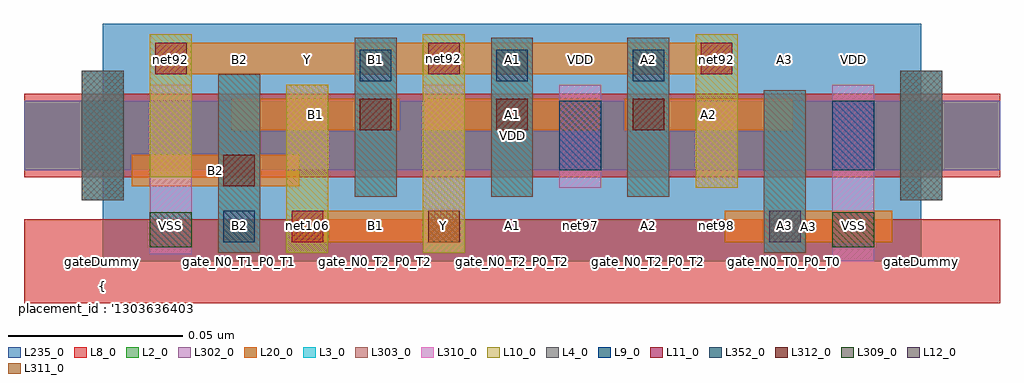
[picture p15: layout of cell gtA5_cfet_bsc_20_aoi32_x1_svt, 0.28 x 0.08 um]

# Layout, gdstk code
import gdstk
lib = gdstk.Library(unit=1e-6, precision=2.5e-10)
def R(c, l, rs):  # rectangles x0, y0, x1, y1
    for r in rs: c.add(gdstk.rectangle(r[:2], r[2:], *l))
def A(c, l, x, y, w, h, nx, ny, dx, dy):  # array of equal rectangles
    R(c, l, [(x+i*dx, y+j*dy, x+i*dx+w, y+j*dy+h) for i in range(nx) for j in range(ny)])
L2_0 = (2, 0)
L3_0 = (3, 0)
L4_0 = (4, 0)
L8_0 = (8, 0)
L9_0 = (9, 0)
L10_0 = (10, 0)
L11_0 = (11, 0)
L12_0 = (12, 0)
L20_0 = (20, 0)
L235_0 = (235, 0)
L302_0 = (302, 0)
L303_0 = (303, 0)
L309_0 = (309, 0)
L310_0 = (310, 0)
L311_0 = (311, 0)
L312_0 = (312, 0)
L352_0 = (352, 0)

gta5_cfet_bsc_20_aoi32_x = lib.new_cell('gtA5_cfet_bsc_20_aoi32_x1_svt')
R(gta5_cfet_bsc_20_aoi32_x, L2_0, [(-0.0225,0.026,0.2565,0.046)])
A(gta5_cfet_bsc_20_aoi32_x, L3_0, 0.072, 0.0185, 0.012, 0.0455, 3, 1, 0.039, 0)
R(gta5_cfet_bsc_20_aoi32_x, L3_0, [(0.033,0.0025,0.045,0.0535), (0.189,0.0025,0.201,0.049), (-0.006,0.0175,0.006,0.0545), (0.228,0.0175,0.24,0.0545)])
R(gta5_cfet_bsc_20_aoi32_x, L4_0, [(-0.006,0.0175,0.006,0.0545), (0.228,0.0175,0.24,0.0545)])
R(gta5_cfet_bsc_20_aoi32_x, L8_0, [(-0.0225,-0.012,0.2565,0.012), (-0.0225,0.024,0.2565,0.048)])
R(gta5_cfet_bsc_20_aoi32_x, L9_0, [(0.1305,0.026,0.1425,0.046), (0.2085,0.026,0.2205,0.046)])
R(gta5_cfet_bsc_20_aoi32_x, L10_0, [(0.0525,0.0025,0.0645,0.0505), (0.0915,0.0025,0.1035,0.065), (0.1695,0.021,0.1815,0.065), (0.0135,0.024,0.0255,0.065)])
A(gta5_cfet_bsc_20_aoi32_x, L11_0, 0.015, 0.0535, 0.009, 0.009, 3, 1, 0.078, 0)
R(gta5_cfet_bsc_20_aoi32_x, L11_0, [(0.054,0.0055,0.063,0.0145)])
R(gta5_cfet_bsc_20_aoi32_x, L12_0, [(0.1905,0.0055,0.1995,0.0145)])
R(gta5_cfet_bsc_20_aoi32_x, L20_0, [(0.054,0.0055,0.102,0.0145), (0.1777,0.0055,0.2258,0.0145), (0.0083,0.0215,0.0563,0.0305), (0.0367,0.0375,0.0848,0.0465), (0.092,0.0375,0.142,0.0465), (0.1492,0.0375,0.1973,0.0465), (0.015,0.0535,0.18,0.0625)])
R(gta5_cfet_bsc_20_aoi32_x, L235_0, [(0,0,0.234,0.068)])
R(gta5_cfet_bsc_20_aoi32_x, L302_0, [(-0.0225,0.026,0.2565,0.046)])
A(gta5_cfet_bsc_20_aoi32_x, L303_0, 0.072, 0.0185, 0.012, 0.0455, 3, 1, 0.039, 0)
R(gta5_cfet_bsc_20_aoi32_x, L303_0, [(0.033,0.0025,0.045,0.0535), (0.189,0.0025,0.201,0.049), (-0.006,0.0175,0.006,0.0545), (0.228,0.0175,0.24,0.0545)])
R(gta5_cfet_bsc_20_aoi32_x, L309_0, [(0.0135,0.004,0.0255,0.014), (0.2085,0.004,0.2205,0.014)])
R(gta5_cfet_bsc_20_aoi32_x, L310_0, [(0.2085,0,0.2205,0.0505), (0.0135,0.002,0.0255,0.0505), (0.0915,0.0025,0.1035,0.0505), (0.1305,0.021,0.1425,0.0505), (0.1695,0.021,0.1815,0.046), (0.0525,0.026,0.0645,0.0505)])
R(gta5_cfet_bsc_20_aoi32_x, L311_0, [(0.093,0.0055,0.102,0.0145)])
A(gta5_cfet_bsc_20_aoi32_x, L312_0, 0.0735, 0.0375, 0.009, 0.009, 3, 1, 0.039, 0)
R(gta5_cfet_bsc_20_aoi32_x, L312_0, [(0.0345,0.0215,0.0435,0.0305)])
A(gta5_cfet_bsc_20_aoi32_x, L352_0, 0.0735, 0.0515, 0.009, 0.009, 3, 1, 0.039, 0)
R(gta5_cfet_bsc_20_aoi32_x, L352_0, [(0.0345,0.0055,0.0435,0.0145)])
gta5_cfet_bsc_20_aoi32_x.add(gdstk.Label('net92', (0.0975,0.058), layer=100, texttype=100))
gta5_cfet_bsc_20_aoi32_x.add(gdstk.Label('gateDummy', (0,0), layer=103, texttype=103))
gta5_cfet_bsc_20_aoi32_x.add(gdstk.Label('sd_N0_VSS_P0_T3', (0.0195,0), layer=103, texttype=103))
gta5_cfet_bsc_20_aoi32_x.add(gdstk.Label('gate_N0_T1_P0_T1', (0.039,0), layer=103, texttype=103))
gta5_cfet_bsc_20_aoi32_x.add(gdstk.Label('sd_N0_abut_P0_T0', (0.0585,0), layer=103, texttype=103))
gta5_cfet_bsc_20_aoi32_x.add(gdstk.Label('gate_N0_T2_P0_T2', (0.078,0), layer=103, texttype=103))
gta5_cfet_bsc_20_aoi32_x.add(gdstk.Label('sd_N0_T0_P0_T3', (0.0975,0), layer=103, texttype=103))
gta5_cfet_bsc_20_aoi32_x.add(gdstk.Label('gate_N0_T2_P0_T2', (0.117,0), layer=103, texttype=103))
gta5_cfet_bsc_20_aoi32_x.add(gdstk.Label('sd_P0_VDD', (0.1365,0), layer=103, texttype=103))
gta5_cfet_bsc_20_aoi32_x.add(gdstk.Label('gate_N0_T2_P0_T2', (0.156,0), layer=103, texttype=103))
gta5_cfet_bsc_20_aoi32_x.add(gdstk.Label('sd_N0_abut_P0_T3', (0.1755,0), layer=103, texttype=103))
gta5_cfet_bsc_20_aoi32_x.add(gdstk.Label('gate_N0_T0_P0_T0', (0.195,0), layer=103, texttype=103))
gta5_cfet_bsc_20_aoi32_x.add(gdstk.Label('sd_N0_VSS_P0_VDD', (0.2145,0), layer=103, texttype=103))
gta5_cfet_bsc_20_aoi32_x.add(gdstk.Label('gateDummy', (0.234,0), layer=103, texttype=103))
gta5_cfet_bsc_20_aoi32_x.add(gdstk.Label('}', (0,-0.0742), layer=104, texttype=104))
gta5_cfet_bsc_20_aoi32_x.add(gdstk.Label('  power : None', (0,-0.0675), layer=104, texttype=104))
gta5_cfet_bsc_20_aoi32_x.add(gdstk.Label('  performance : None', (0,-0.0607), layer=104, texttype=104))
gta5_cfet_bsc_20_aoi32_x.add(gdstk.Label("  solution_hash : '3940443828768356871'", (0,-0.054), layer=104, texttype=104))
gta5_cfet_bsc_20_aoi32_x.add(gdstk.Label('  number_m2 : 0', (0,-0.0473), layer=104, texttype=104))
gta5_cfet_bsc_20_aoi32_x.add(gdstk.Label('  number_m1 : 0', (0,-0.0405), layer=104, texttype=104))
gta5_cfet_bsc_20_aoi32_x.add(gdstk.Label('  number_m0cuts : 0', (0,-0.0338), layer=104, texttype=104))
gta5_cfet_bsc_20_aoi32_x.add(gdstk.Label('  number_m0 : 7', (0,-0.027), layer=104, texttype=104))
gta5_cfet_bsc_20_aoi32_x.add(gdstk.Label("  solution_number : '0000'", (0,-0.0203), layer=104, texttype=104))
gta5_cfet_bsc_20_aoi32_x.add(gdstk.Label("  placement_id : '13036364033459120895'", (0,-0.0135), layer=104, texttype=104))
gta5_cfet_bsc_20_aoi32_x.add(gdstk.Label('{', (0,-0.0067), layer=104, texttype=104))
gta5_cfet_bsc_20_aoi32_x.add(gdstk.Label('VSS', (0.0195,0.0103), layer=105, texttype=105))
gta5_cfet_bsc_20_aoi32_x.add(gdstk.Label('B2', (0.039,0.0103), layer=105, texttype=105))
gta5_cfet_bsc_20_aoi32_x.add(gdstk.Label('net106', (0.0585,0.0103), layer=105, texttype=105))
gta5_cfet_bsc_20_aoi32_x.add(gdstk.Label('B1', (0.078,0.0103), layer=105, texttype=105))
gta5_cfet_bsc_20_aoi32_x.add(gdstk.Label('Y', (0.0975,0.0103), layer=105, texttype=105))
gta5_cfet_bsc_20_aoi32_x.add(gdstk.Label('A1', (0.117,0.0103), layer=105, texttype=105))
gta5_cfet_bsc_20_aoi32_x.add(gdstk.Label('net97', (0.1365,0.0103), layer=105, texttype=105))
gta5_cfet_bsc_20_aoi32_x.add(gdstk.Label('A2', (0.156,0.0103), layer=105, texttype=105))
gta5_cfet_bsc_20_aoi32_x.add(gdstk.Label('net98', (0.1755,0.0103), layer=105, texttype=105))
gta5_cfet_bsc_20_aoi32_x.add(gdstk.Label('A3', (0.195,0.0103), layer=105, texttype=105))
gta5_cfet_bsc_20_aoi32_x.add(gdstk.Label('VSS', (0.2145,0.0103), layer=105, texttype=105))
gta5_cfet_bsc_20_aoi32_x.add(gdstk.Label('net92', (0.0195,0.0578), layer=105, texttype=105))
gta5_cfet_bsc_20_aoi32_x.add(gdstk.Label('B2', (0.039,0.0578), layer=105, texttype=105))
gta5_cfet_bsc_20_aoi32_x.add(gdstk.Label('Y', (0.0585,0.0578), layer=105, texttype=105))
gta5_cfet_bsc_20_aoi32_x.add(gdstk.Label('B1', (0.078,0.0578), layer=105, texttype=105))
gta5_cfet_bsc_20_aoi32_x.add(gdstk.Label('net92', (0.0975,0.0578), layer=105, texttype=105))
gta5_cfet_bsc_20_aoi32_x.add(gdstk.Label('A1', (0.117,0.0578), layer=105, texttype=105))
gta5_cfet_bsc_20_aoi32_x.add(gdstk.Label('VDD', (0.1365,0.0578), layer=105, texttype=105))
gta5_cfet_bsc_20_aoi32_x.add(gdstk.Label('A2', (0.156,0.0578), layer=105, texttype=105))
gta5_cfet_bsc_20_aoi32_x.add(gdstk.Label('net92', (0.1755,0.0578), layer=105, texttype=105))
gta5_cfet_bsc_20_aoi32_x.add(gdstk.Label('A3', (0.195,0.0578), layer=105, texttype=105))
gta5_cfet_bsc_20_aoi32_x.add(gdstk.Label('VDD', (0.2145,0.0578), layer=105, texttype=105))
gta5_cfet_bsc_20_aoi32_x.add(gdstk.Label('VSS', (0.117,0), layer=8, texttype=0))
gta5_cfet_bsc_20_aoi32_x.add(gdstk.Label('VDD', (0.117,0.036), layer=8, texttype=0))
gta5_cfet_bsc_20_aoi32_x.add(gdstk.Label('Y', (0.078,0.01), layer=20, texttype=251))
gta5_cfet_bsc_20_aoi32_x.add(gdstk.Label('A3', (0.2018,0.01), layer=20, texttype=251))
gta5_cfet_bsc_20_aoi32_x.add(gdstk.Label('B2', (0.0323,0.026), layer=20, texttype=251))
gta5_cfet_bsc_20_aoi32_x.add(gdstk.Label('B1', (0.0607,0.042), layer=20, texttype=251))
gta5_cfet_bsc_20_aoi32_x.add(gdstk.Label('A1', (0.117,0.042), layer=20, texttype=251))
gta5_cfet_bsc_20_aoi32_x.add(gdstk.Label('A2', (0.1733,0.042), layer=20, texttype=251))
gta5_cfet_bsc_20_aoi32_x.add(gdstk.Label('gtA5_cfet_bsc_20nm_aoi32_x1_rvt_0', (0,0), layer=235, texttype=0))

lib.write_gds('gtA5_cfet_bsc_20_aoi32_x1_svt.gds')
